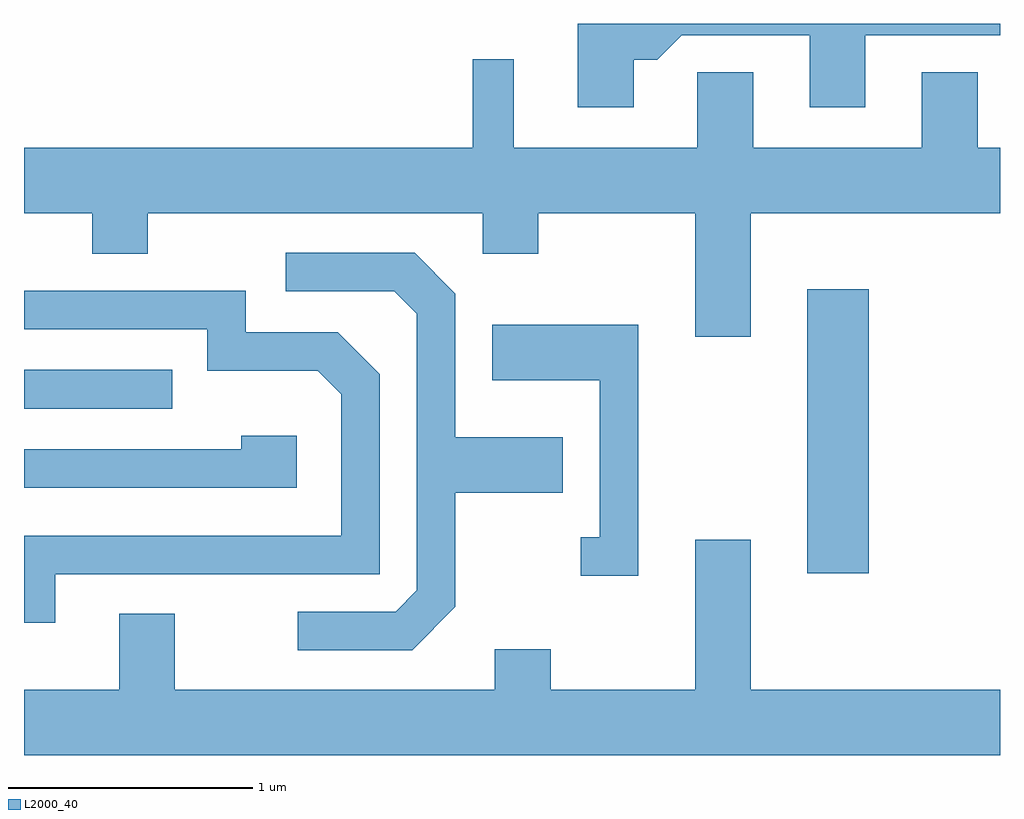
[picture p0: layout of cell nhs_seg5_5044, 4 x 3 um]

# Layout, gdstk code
import gdstk
lib = gdstk.Library(unit=1e-6, precision=1e-09)
def R(c, l, rs):  # rectangles x0, y0, x1, y1
    for r in rs: c.add(gdstk.rectangle(r[:2], r[2:], *l))
def P(c, l, *ps):  # polygons
    for p in ps: c.add(gdstk.Polygon(p, *l))
L2000_40 = (2000, 40)

nhs_seg5_5044 = lib.new_cell('nhs_seg5_5044')
R(nhs_seg5_5044, L2000_40, [(338.821,1399.821,339.074,1400.984), (335.611,1400.496,336.218,1400.654)])
P(nhs_seg5_5044, L2000_40, [(338.109,1401.926),(338.207,1401.926),(338.307,1402.026),(338.831,1402.026),(338.831,1401.731),(339.059,1401.731),(339.059,1402.026),(339.611,1402.026),(339.611,1402.072),(337.881,1402.072),(337.881,1401.731),(338.109,1401.731)],
  [(338.589,1401.296),(339.611,1401.296),(339.611,1401.564),(339.519,1401.564),(339.519,1401.874),(339.291,1401.874),(339.291,1401.564),(338.599,1401.564),(338.599,1401.874),(338.371,1401.874),(338.371,1401.564),(337.619,1401.564),(337.619,1401.928),(337.451,1401.928),(337.451,1401.564),(335.611,1401.564),(335.611,1401.296),(335.891,1401.296),(335.891,1401.131),(336.119,1401.131),(336.119,1401.296),(337.491,1401.296),(337.491,1401.131),(337.719,1401.131),(337.719,1401.296),(338.361,1401.296),(338.361,1400.791),(338.589,1400.791)],
  [(337.379,1399.684),(337.379,1400.151),(337.819,1400.151),(337.819,1400.379),(337.379,1400.379),(337.379,1400.967),(337.212,1401.134),(336.683,1401.134),(336.683,1400.976),(337.129,1400.976),(337.221,1400.884),(337.221,1399.752),(337.134,1399.664),(336.733,1399.664),(336.733,1399.506),(337.202,1399.506)],
  [(335.739,1399.816),(337.069,1399.816),(337.069,1400.637),(336.897,1400.809),(336.519,1400.809),(336.519,1400.979),(335.611,1400.979),(335.611,1400.821),(336.361,1400.821),(336.361,1400.651),(336.814,1400.651),(336.911,1400.554),(336.911,1399.974),(335.611,1399.974),(335.611,1399.618),(335.739,1399.618)],
  [(338.129,1400.839),(337.531,1400.839),(337.531,1400.611),(337.971,1400.611),(337.971,1399.969),(337.893,1399.969),(337.893,1399.811),(338.129,1399.811)],
  [(336.729,1400.384),(336.501,1400.384),(336.501,1400.329),(335.611,1400.329),(335.611,1400.171),(336.729,1400.171)],
  [(339.611,1399.344),(338.589,1399.344),(338.589,1399.959),(338.361,1399.959),(338.361,1399.344),(337.769,1399.344),(337.769,1399.509),(337.541,1399.509),(337.541,1399.344),(336.229,1399.344),(336.229,1399.654),(336.001,1399.654),(336.001,1399.344),(335.611,1399.344),(335.611,1399.076),(339.611,1399.076)])

lib.write_gds('nhs_seg5_5044.gds')
